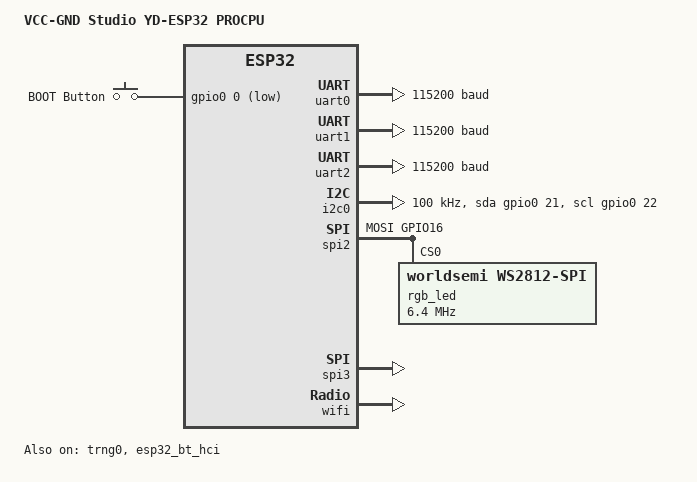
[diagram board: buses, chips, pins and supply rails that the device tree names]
/*
 * SPDX-License-Identifier: Apache-2.0
 */
/dts-v1/;

#include <espressif/esp32/esp32_wroom_32ue_n16.dtsi>
#include <zephyr/dt-bindings/led/led.h>
#include "yd_esp32-pinctrl.dtsi"
#include <zephyr/dt-bindings/input/input-event-codes.h>
#include <espressif/partitions_0x1000_amp.dtsi>

/ {
	model = "VCC-GND Studio YD-ESP32 PROCPU";
	compatible = "espressif,esp32";

	aliases {
		uart-0 = &uart0;
		i2c-0 = &i2c0;
		sw0 = &button0;
		watchdog0 = &wdt0;
		led-strip = &rgb_led;
	};

	buttons {
		compatible = "gpio-keys";
		button0: button_0 {
			gpios = <&gpio0 0 (GPIO_PULL_UP | GPIO_ACTIVE_LOW)>;
			label = "BOOT Button";
			zephyr,code = <INPUT_KEY_0>;
		};
	};

	chosen {
		zephyr,sram = &sram1;
		zephyr,console = &uart0;
		zephyr,shell-uart = &uart0;
		zephyr,flash = &flash0;
		zephyr,code-partition = &slot0_partition;
		zephyr,bt-hci = &esp32_bt_hci;
	};
};

&pinctrl {
	spim2_default: spim2_default {
		group2 {
			pinmux = <SPIM2_MOSI_GPIO16>;
			output-low;
		};
	};
};

&uart0 {
	status = "okay";
	current-speed = <115200>;
	pinctrl-0 = <&uart0_default>;
	pinctrl-names = "default";
};

&uart1 {
	current-speed = <115200>;
	pinctrl-0 = <&uart1_default>;
	pinctrl-names = "default";
};

&uart2 {
	current-speed = <115200>;
	pinctrl-0 = <&uart2_default>;
	pinctrl-names = "default";
};

&gpio0 {
	status = "okay";
};

&gpio1 {
	status = "okay";
};

&i2c0 {
	status = "okay";
	clock-frequency = <I2C_BITRATE_STANDARD>;
	sda-gpios = <&gpio0 21 GPIO_OPEN_DRAIN>;
	scl-gpios = <&gpio0 22 GPIO_OPEN_DRAIN>;
	pinctrl-0 = <&i2c0_default>;
	pinctrl-names = "default";
};

&spi2 {
	#address-cells = <1>;
	#size-cells = <0>;
	status = "okay";
	pinctrl-0 = <&spim2_default>;
	pinctrl-names = "default";

	rgb_led: ws2812@0 {
		compatible = "worldsemi,ws2812-spi";

		/* SPI */
		reg = <0>; /* ignored, but necessary for SPI bindings */
		spi-max-frequency = <6400000>;

		/* XL-5050RGBC-WS2812B */
		chain-length = <1>;
		spi-one-frame = <0xfc>; /* 11111100: 0.937 us high and 0.313 us low */
		spi-zero-frame = <0xc0>; /* 11000000: 0.313 us high and 0.937 us low */
		color-mapping = <LED_COLOR_ID_GREEN
				 LED_COLOR_ID_RED
				 LED_COLOR_ID_BLUE>;
	};
};

&spi3 {
	#address-cells = <1>;
	#size-cells = <0>;
	status = "okay";
	pinctrl-0 = <&spim3_default>;
	pinctrl-names = "default";
};

&timer0 {
	status = "disabled";
};

&timer1 {
	status = "disabled";
};

&timer2 {
	status = "disabled";
};

&timer3 {
	status = "disabled";
};

&trng0 {
	status = "okay";
};

&esp32_bt_hci {
	status = "okay";
};

&wifi {
	status = "okay";
};
